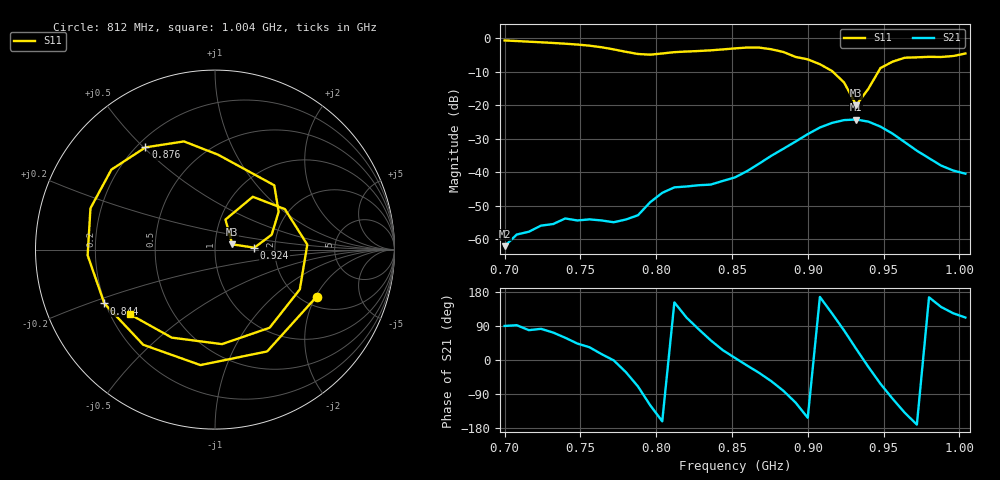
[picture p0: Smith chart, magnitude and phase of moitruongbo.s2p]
# Hz S RI R 50
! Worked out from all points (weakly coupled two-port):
!   39 points, 700 MHz to 1.004 GHz, reference 50 ohm
!   highest |S21| = -24.22 dB at 932 MHz (marker M1); lowest = -62.1 dB at 700 MHz (marker M2)
!   lowest |S11| = -19.9 dB at 932 MHz (marker M3), VSWR 1.22, Z = 60.6 + j3.57 ohm
!   |S11| at or under -10 dB: 916.6 MHz to 946.5 MHz (29.85 MHz wide, 3.2 % of centre)
!   S12 and S22 are empty: the file has one direction only
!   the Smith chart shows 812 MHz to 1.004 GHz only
!   S11 on the Smith chart (normalised r, x): 812 MHz: 2.38, -2.04; 844 MHz: 0.20, -0.22; 876 MHz: 0.23, +0.51; 924 MHz: 1.56, +0.03; 1.004 GHz: 0.28, -0.31
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7e8  0.7658 0.5325  1.11e-06 0.000788  0 0  0 0
7.24e8  0.8352 -0.2622  0.000215 0.00158  0 0  0 0
7.4e8  0.4494 -0.7025  0.00106 0.00175  0 0  0 0
7.56e8  -0.192 -0.7556  0.00165 0.0011  0 0  0 0
7.72e8  -0.6544 -0.2058  0.0018 -3.24e-05  0 0  0 0
7.8e8  -0.593 0.2165  0.00167 -0.00104  0 0  0 0
7.88e8  -0.254 0.5275  0.000788 -0.00214  0 0  0 0
7.96e8  0.2278 0.5246  -0.00174 -0.00312  0 0  0 0
8.04e8  0.565 0.1894  -0.00469 -0.00155  0 0  0 0
8.12e8  0.5662 -0.262  -0.00527 0.00279  0 0  0 0
8.28e8  -0.081 -0.6435  0.000969 0.00634  0 0  0 0
8.44e8  -0.6167 -0.2997  0.0067 0.00324  0 0  0 0
8.52e8  -0.7096 -0.0321  0.00836 0.000797  0 0  0 0
8.76e8  -0.3874 0.5696  0.00988 -0.0147  0 0  0 0
9e8  0.3303 0.3582  -0.033 -0.0172  0 0  0 0
9.08e8  0.3546 0.2105  -0.0454 0.011  0 0  0 0
9.24e8  0.219 0.0107  0.0127 0.0589  0 0  0 0
9.32e8  0.0964 0.0292  0.0537 0.0299  0 0  0 0
9.56e8  0.3894 0.2257  -0.00806 -0.0369  0 0  0 0
9.72e8  0.4724 -0.2221  -0.0207 -0.0035  0 0  0 0
9.88e8  0.0387 -0.5267  -0.00964 0.00811  0 0  0 0
1.004e9  -0.4733 -0.361  -0.00359 0.00885  0 0  0 0
